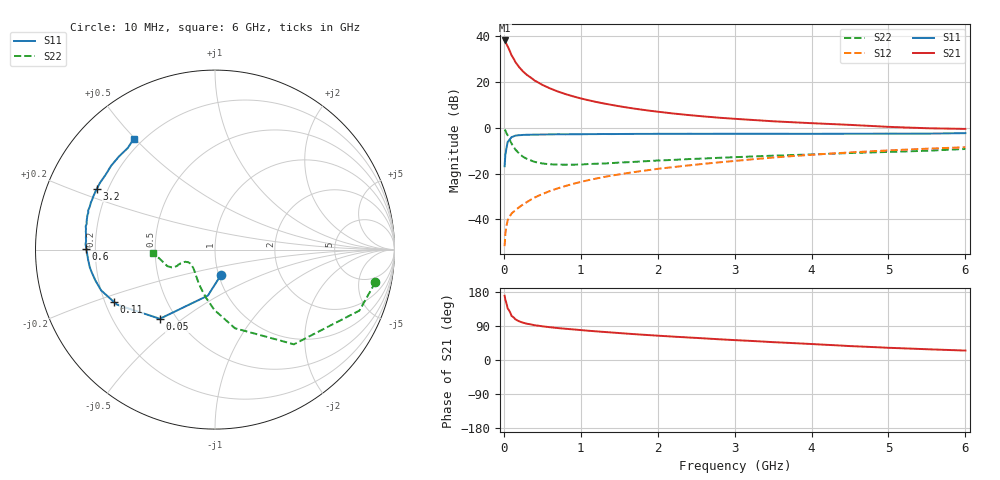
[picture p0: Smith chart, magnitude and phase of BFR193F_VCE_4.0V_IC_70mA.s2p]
! (c) 2017  Infineon Technologies AG, Munich
! Infineon Technologies  Discrete & RF Semiconductors
! BFR193F
! VCE =  4.0 V,  IC =  70 mA
! Common Emitter S-Parameters:  Jan 2017
# GHz  S  MA  R  50
!  f  S11  S21  S12  S22
! GHz  MAG  ANG  MAG  ANG  MAG  ANG  MAG  ANG
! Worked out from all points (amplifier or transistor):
!   77 points, 10 MHz to 6 GHz, reference 50 ohm
!   highest |S21| = 38.1 dB at 10 MHz (marker M1)
!   |S21| within 3 dB of that: start of sweep to 55.5 MHz
!   unconditionally stable (mu >= 1): 705.8 MHz to 2.482 GHz
!   at 130 MHz: K = 0.59, MSG = 33.3 dB, |S12| = -36.6 dB
!   at 2.2 GHz: K = 1.01, MAG = 11.0 dB, |S12| = -17.2 dB
!   at 6 GHz: K = 0.86, MSG = 4.0 dB, |S12| = -8.5 dB
!   S11 on the Smith chart (normalised r, x): 10 MHz: 1.03, -0.30; 50 MHz: 0.41, -0.41; 110 MHz: 0.24, -0.23; 600 MHz: 0.16, +0.00; 3.2 GHz: 0.16, +0.24; 6 GHz: 0.17, +0.49
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0.01  0.1449 -76.6  80.75 169.5  0.0026 84.8  0.912 -11.5
0.02  0.2592 -98.8  76.88 158.9  0.0049 76.2  0.8733 -22.9
0.05  0.4932 -128.6  59.77 136.0  0.0096 60.0  0.687 -50.2
0.1  0.6263 -150.7  38.41 116.4  0.0134 54.0  0.452 -75.8
0.11  0.6344 -152.7  36.14 115.0  0.0139 54.3  0.4268 -78.1
0.15  0.674 -160.3  27.33 107.4  0.0158 55.2  0.3353 -90.7
0.2  0.6884 -165.6  20.99 101.9  0.0185 58.2  0.2732 -100.5
0.25  0.6986 -169.6  16.96 98.4  0.0212 60.5  0.2323 -109.1
0.3  0.7047 -172.0  14.26 95.7  0.0239 63.9  0.21 -115.4
0.4  0.7097 -175.8  10.77 91.7  0.03 67.3  0.1802 -125.8
0.5  0.7131 -178.3  8.661 88.9  0.0357 69.4  0.1663 -133.0
0.6  0.717 179.6  7.248 86.5  0.0417 71.6  0.1595 -138.7
0.7  0.7217 177.6  6.226 84.3  0.0475 72.9  0.1573 -142.8
0.8  0.7197 176.2  5.45 82.5  0.0535 73.9  0.1563 -146.8
1.1  0.7267 172.0  3.995 77.2  0.0719 74.9  0.1615 -152.5
1.5  0.7322 167.7  2.958 71.1  0.096 75.3  0.1739 -156.7
2.1  0.7384 161.9  2.149 63.0  0.1327 74.4  0.1959 -158.3
3.1  0.7402 153.5  1.533 51.5  0.1958 71.9  0.2317 -156.7
3.2  0.7402 152.7  1.496 50.5  0.2027 71.5  0.2353 -156.7
4.1  0.7392 144.7  1.24 41.1  0.2638 67.3  0.2655 -158.5
5.1  0.745 134.8  1.034 31.5  0.3264 61.3  0.3007 -167.5
6  0.7644 126.4  0.946 24.9  0.376 55.6  0.3447 -176.6
